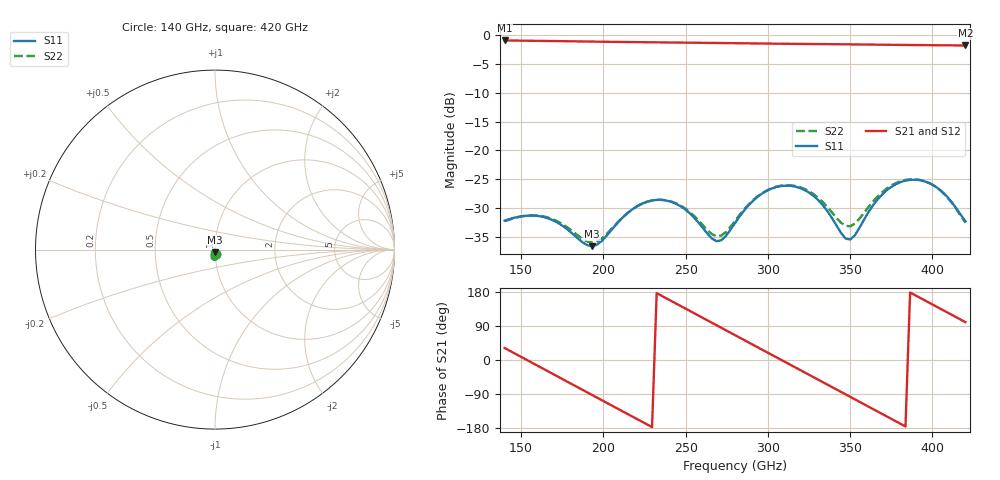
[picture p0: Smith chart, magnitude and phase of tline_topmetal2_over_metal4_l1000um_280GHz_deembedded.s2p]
! Created with skrf 2.2.0 (http://scikit-rf.org).
# GHz S DB R 50.0
! Port[1] = P1
! Port[2] = P2
!freq dBS11 angS11 dBS21 angS21 dBS12 angS12 dBS22 angS22
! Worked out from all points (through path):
!   101 points, 140 GHz to 420 GHz, reference 50 ohm
!   highest |S21| = -0.93 dB at 140 GHz (marker M1); lowest = -1.8 dB at 420 GHz (marker M2)
!   group delay of S21, straight-line fit = 6.46 ps
!   lowest |S11| = -36.6 dB at 193.2 GHz (marker M3), VSWR 1.03, Z = 50.1 - j1.48 ohm
!   |S11| at or under -10 dB: start of sweep to end of sweep
!   |S22| runs from -36.0 to -25.0 dB; largest |S21 - S12| = 1e-13
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140  -32.19 -76.4  -0.93 31.6  -0.93 31.6  -32.29 -75.2
151.2  -31.39 -85.0  -0.97 5.5  -0.97 5.5  -31.41 -83.2
162.4  -31.48 -95.7  -1.01 -20.6  -1.01 -20.6  -31.39 -93.4
176.4  -33.32 -105.5  -1.06 -53.3  -1.06 -53.3  -33.02 -103.0
187.6  -35.99 -98.4  -1.11 -79.4  -1.11 -79.4  -35.39 -97.1
193.2  -36.61 -85.4  -1.13 -92.4  -1.13 -92.4  -35.99 -85.9
215.6  -30.67 -67.3  -1.21 -144.5  -1.21 -144.5  -30.65 -67.8
235.2  -28.59 -92.1  -1.27 169.9  -1.27 169.9  -28.57 -90.9
246.4  -29.60 -106.5  -1.30 143.8  -1.30 143.8  -29.49 -104.3
260.4  -33.43 -111.1  -1.35 111.2  -1.35 111.2  -32.96 -107.9
268.8  -35.75 -90.7  -1.37 91.7  -1.37 91.7  -34.90 -89.9
280  -32.60 -61.6  -1.41 65.6  -1.41 65.6  -32.24 -63.7
294  -27.99 -67.8  -1.46 33.0  -1.46 33.0  -27.91 -68.2
305.2  -26.34 -83.3  -1.49 7.0  -1.49 7.0  -26.28 -82.3
327.6  -27.86 -116.0  -1.55 -45.0  -1.55 -45.0  -27.57 -111.7
338.8  -31.67 -121.6  -1.58 -71.1  -1.58 -71.1  -30.71 -114.9
350  -35.47 -87.2  -1.61 -97.2  -1.61 -97.2  -33.17 -89.1
361.2  -30.67 -59.7  -1.65 -123.3  -1.65 -123.3  -29.80 -67.9
375.2  -26.29 -71.1  -1.69 -155.8  -1.69 -155.8  -26.06 -76.8
394.8  -25.34 -100.2  -1.75 158.6  -1.75 158.6  -25.30 -104.0
408.8  -28.00 -115.8  -1.78 126.0  -1.78 126.0  -28.06 -119.0
420  -32.27 -106.4  -1.80 99.9  -1.80 99.9  -32.53 -109.0
